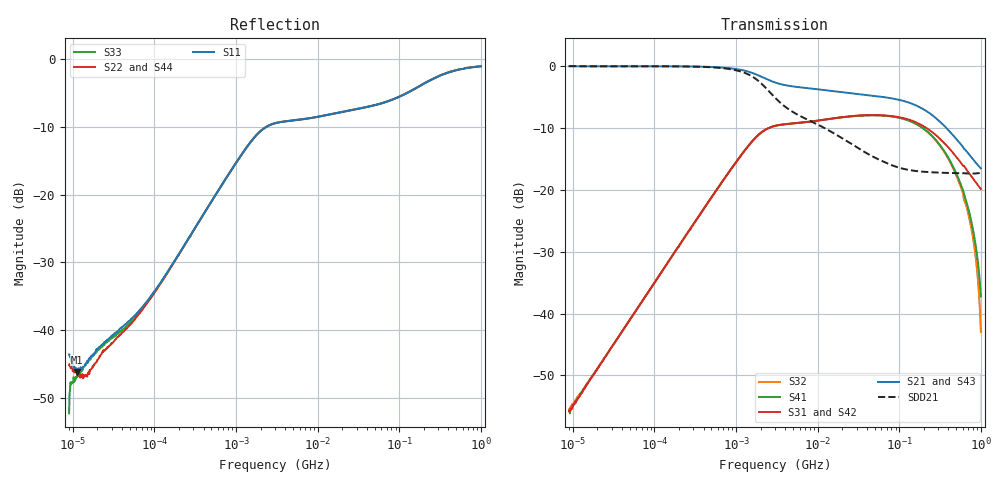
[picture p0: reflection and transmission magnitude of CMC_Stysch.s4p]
#  HZ  S  MA  R  50.00
! Rohde & Schwarz Vector Network Analyzer
! Rohde-Schwarz,ZNB8-4Port,1311601044101622,2.94
! Created: UTC 3/5/2021, 10:33:13 AM
! freq[Hz]  mag:S11  ang:S11  mag:S12  ang:S12  mag:S13  ang:S13  mag:S14  ang:S14
!  mag:S21  ang:S21  mag:S22  ang:S22  mag:S23  ang:S23  mag:S24  ang:S24
!  mag:S31  ang:S31  mag:S32  ang:S32  mag:S33  ang:S33  mag:S34  ang:S34
!  mag:S41  ang:S41  mag:S42  ang:S42  mag:S43  ang:S43  mag:S44  ang:S44
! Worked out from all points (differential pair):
!   1001 points, 9 kHz to 1 GHz, reference 50 ohm
!   strongest paths, dB at 9 kHz, 164.3 kHz, 3 MHz, 54.77 MHz, 1 GHz:
!     S21: 0.0, 0.0, -2.6, -4.9, -16.5
!     S43: 0.0, 0.0, -2.6, -4.9, -16.7
!     S31: -55.7, -30.7, -9.7, -7.9, -19.9
!     S42: -55.9, -30.7, -9.7, -7.9, -20.2
!     S41: -55.7, -30.7, -9.7, -7.9, -37.2
!     S32: -55.5, -30.7, -9.6, -7.9, -43.0
!   taken as a pair (ports 1,3 in; 2,4 out), SDD21 dB: 0.0, 0.0, -5.1, -15.0, -17.2
!   lowest |S11| = -46.1 dB at 11.35 kHz (marker M1), VSWR 1.01, Z = 49.5 + j0.00463 ohm
!   |S11| at or under -10 dB: start of sweep to 2.366 MHz
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9000  0.006648 -152.0  0.9994 0.5  0.001588 -87.0  0.001607 92.9
      0.9999 0.2  0.005526 -128.2  0.001579 92.2  0.001576 -86.5
      0.00165 -90.1  0.00168 92.4  0.002448 -145.9  0.999 0.4
      0.001637 90.9  0.001609 -88.9  1.001 0.2  0.003335 -142.7
11354.23  0.004926 179.5  0.9986 0.3  0.0021 -89.2  0.002052 92.1
          0.9984 -0.0  0.004963 -174.2  0.002069 91.9  0.002067 -88.4
          0.00204 -89.3  0.002132 91.4  0.004536 158.6  0.9985 0.2
          0.002057 91.3  0.002044 -89.5  0.999 0.0  0.002835 160.4
3216591  0.339 29.9  0.7282 -14.2  0.3323 -151.8  0.3325 28.2
         0.7279 -14.2  0.3389 29.9  0.3323 28.2  0.3322 -151.9
         0.3325 -151.8  0.3327 28.2  0.3396 29.9  0.7283 -14.3
         0.3325 28.2  0.3323 -151.9  0.7279 -14.3  0.3393 29.9
6.010723e7  0.4699 7.1  0.5688 -24.6  0.402 159.6  0.4013 -19.5
            0.5664 -24.7  0.4691 6.9  0.3997 -19.5  0.4014 159.4
            0.4012 159.6  0.4001 -19.5  0.471 7.2  0.5672 -24.8
            0.3997 -19.6  0.4011 159.4  0.5663 -24.9  0.4711 7.0
2.8514e8  0.7316 -29.7  0.3783 -86.5  0.2758 78.9  0.2512 -96.9
          0.377 -86.6  0.7326 -30.5  0.2476 -96.7  0.2738 78.3
          0.2749 78.8  0.2477 -96.8  0.7354 -29.9  0.3759 -87.2
          0.2501 -97.0  0.2736 78.2  0.3755 -87.2  0.7367 -30.5
6.138725e8  0.8449 -91.0  0.2186 -149.3  0.1564 2.4  0.09589 -171.9
            0.218 -149.3  0.8424 -91.5  0.08656 -173.0  0.153 1.5
            0.1561 2.2  0.08667 -173.1  0.8443 -90.9  0.215 -150.4
            0.09568 -172.2  0.153 1.4  0.2148 -150.4  0.8509 -92.5
1e9  0.88 -153.8  0.1496 149.6  0.1017 -68.8  0.01371 127.9
     0.1493 149.5  0.8833 -152.7  0.007108 156.2  0.09776 -69.5
     0.1017 -69.0  0.007086 155.4  0.8823 -152.8  0.1463 148.4
     0.01376 126.4  0.09763 -69.6  0.1459 148.5  0.8847 -155.4
